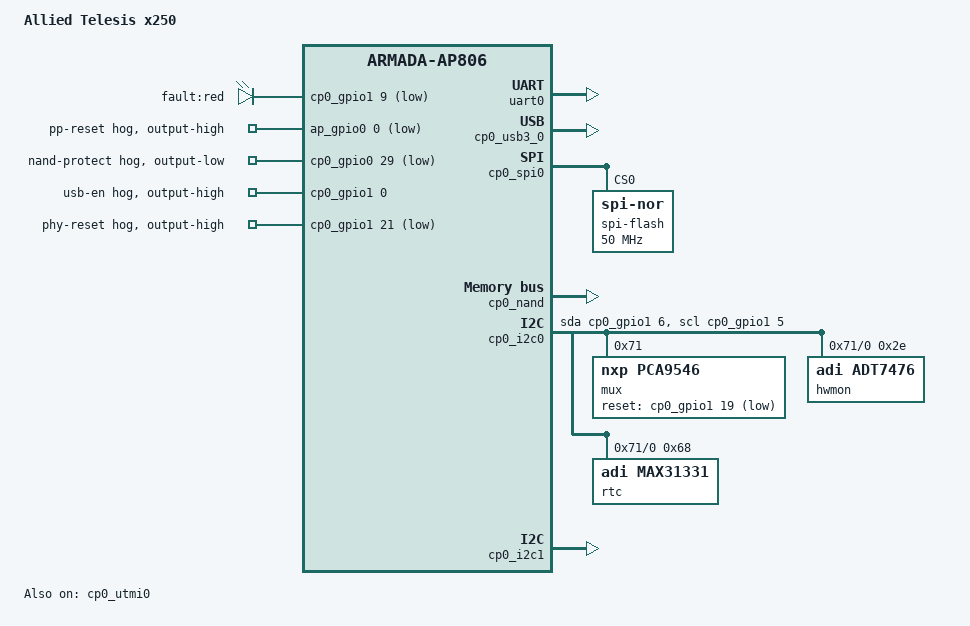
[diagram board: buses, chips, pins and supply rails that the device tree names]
// SPDX-License-Identifier: GPL-2.0+
/*
 * Copyright (C) 2024 Allied Telesis Labs
 */

#include "cn9130.dtsi"

/ {
	model = "Allied Telesis x250";
	compatible = "alliedtelesis,x250",
		"marvell,cn9130",
		"marvell,armada-ap806-quad",
		"marvell,armada-ap806";

	aliases {
		serial0 = &uart0;
		i2c0 = &cp0_i2c0;
		i2c1 = &cp0_i2c1;
	};

	chosen {
		stdout-path = "serial0:115200n8";
	};

	gpio-leds {
		compatible = "gpio-leds";

		fault {
			label = "fault:red";
			gpios = <&cp0_gpio1 9 GPIO_ACTIVE_LOW>;
			default-state = "on";
		};
	};
};

/*
 * AP related configuration
 */
&ap_pinctl {
	/* AP_MPP Pins:
	 * GPIO & NC [0-6,9-10,12]
	 * UART0 [11,19]
	 * UART1 [7,8]
	 * Note: The x250-28XTm PT1 units has the console port wired
	 *       to the second uart pins (UART1). This was fixed in all
	 *       subsequent models.
	 *       Here we choose to configure the pin control for both
	 *       uarts to cater for either unit.
	 */
		/*   0 1 2 3 4 5 6 7 8 9 */
	pin-func = < 0 0 0 0 0 0 0 3 3 0
		     0 3 0 0 0 0 0 0 0 3 >;
};

&ap_gpio0 {
	pp-reset {
		gpio-hog;
		gpios = <0 GPIO_ACTIVE_LOW>;
		output-high;
		line-name = "pp-reset";
	};
};

/*
 * CP related configuration
 */
&cp0_pinctl {
	/* MPP Bus:
	 *	[0-1]	DEV
	 *	[2-8]	GPIO
	 *	[9]	DEV
	 *	[10-12]	GPIO
	 *	[13]	ND_RB
	 *	[14]	GPIO
	 *	[15-28]	DEV
	 *	[29-30]	GPIO
	 *	[31]	DEV
	 *	[32-34]	GPIO
	 *	[35-36]	I2C1
	 *	[37-38]	I2C0
	 *	[39-55]	GPIO
	 *	[56-60]	SPI
	 *	[61-62]	GPIO
	 */
		/*   0   1   2   3   4   5   6   7   8   9 */
	pin-func = < 1   1   0   0   0   0   0   0   0   1
		     0   0   0   2   0   1   1   1   1   1
		     1   1   1   1   1   1   1   1   1   0
		     0   1   0   0   0   2   2   2   2   0
		     0   0   0   0   0   0   0   0   0   0
		     0   0   0   0   0   0   6   6   6   6
		     6   0   0>;

	cp0_i2c0_pins: cp0-i2c-pins-0 {
		marvell,pins = <37 38>;
		marvell,function = <2>;
	};

	cp0_i2c0_gpio_pins: cp0-i2c-gpio-pins-0 {
		marvell,pins = <37 38>;
		marvell,function = <0>;
	};

	cp0_i2c1_pins: cp0-i2c-pins-1 {
		marvell,pins = <35 36>;
		marvell,function = <2>;
	};

	cp0_nand_pins: cp0-nand-pins {
		marvell,pins = <0 1 9 15 16 17 18 19 20 21 22 23 24 25 26 27 28 31>;
		marvell,function = <1>;
	};

	cp0_nand_rb: cp0-nand-rb {
		marvell,pins = <13>;
		marvell,function = <2>;
	};

	cp0_spi0_pins: cp0-spi-pins-0 {
		marvell,pins = <56 57 58 59 60>;
		marvell,function = <6>;
	};
};

&cp0_comphy {
	phy0 {
		phy-type = <COMPHY_TYPE_PEX0>;
	};

	phy1 {
		phy-type = <COMPHY_TYPE_IGNORE>;
	};

	phy2 {
		phy-type = <COMPHY_TYPE_IGNORE>;
	};

	phy3 {
		phy-type = <COMPHY_TYPE_IGNORE>;
	};

	phy4 {
		phy-type = <COMPHY_TYPE_IGNORE>;
	};

	phy5 {
		phy-type = <COMPHY_TYPE_IGNORE>;
	};
};

&cp0_pcie0 {
	num-lanes = <1>;
		/* non-prefetchable memory */
	ranges =<0x82000000 0 0xc0000000 0 0xc0000000 0 0x2000000>;
	status = "disabled";
};

&uart0 {
	status = "okay";
};

&uart1 {
	clock-frequency = <200000000>;
};

&cp0_utmi0 {
	status = "okay";
};

&cp0_usb3_0 {
	status = "okay";
};

&cp0_spi0 {
	status = "okay";
	pinctrl-names = "default";
	pinctrl-0 = <&cp0_spi0_pins>;

	spi-flash@0 {
		#address-cells = <1>;
		#size-cells = <1>;
		compatible = "jedec,spi-nor";
		reg = <0>; /* Chip select 0 */
		spi-max-frequency = <50000000>;
		m25p,fast-read;
	};
};

&cp0_nand {
	status = "okay";
	pinctrl-names = "default";
	pinctrl-0 = <&cp0_nand_pins &cp0_nand_rb>;
	nand-ecc-strength = <4>;
	nand-ecc-step-size = <512>;
	nand-timing-mode = <4>;

	partitions {
		compatible = "fixed-partitions";
		#address-cells = <1>;
		#size-cells = <1>;

		partition@user {
			reg = <0x00000000 0x10000000>;
			label = "user";
		};
	};
};

&cp0_gpio0
{
	nand-protect {
		gpio-hog;
		gpios = <29 GPIO_ACTIVE_LOW>;
		output-low;
		line-name = "nand-protect";
	};
};

&cp0_gpio1
{
	usb-en {
		gpio-hog;
		gpios = <0 GPIO_ACTIVE_HIGH>;
		output-high;
		line-name = "usb-en";
	};

	phy-reset {
		gpio-hog;
		gpios = <21 GPIO_ACTIVE_LOW>;
		output-high;
		line-name = "phy-reset";
	};
};

&cp0_i2c0 {
	status = "okay";
	pinctrl-names = "default", "gpio";
	pinctrl-0 = <&cp0_i2c0_pins>;
	pinctrl-1 = <&cp0_i2c0_gpio_pins>;
	scl-gpios = <&cp0_gpio1 5 (GPIO_ACTIVE_HIGH | GPIO_OPEN_DRAIN)>;
	sda-gpios = <&cp0_gpio1 6 (GPIO_ACTIVE_HIGH | GPIO_OPEN_DRAIN)>;

	mux@71 {
		#address-cells = <1>;
		#size-cells = <0>;
		compatible = "nxp,pca9546";
		reg = <0x71>;
		i2c-mux-idle-disconnect;
		reset-gpios = <&cp0_gpio1 19 GPIO_ACTIVE_LOW>;

		i2c@0 {
			#address-cells = <1>;
			#size-cells = <0>;
			reg = <0>;

			hwmon@2e {
				compatible = "adi,adt7476";
				reg = <0x2e>;
			};

			rtc@68 {
				compatible = "adi,max31331";
				reg = <0x68>;
			};
		};
	};
};

&cp0_i2c1 {
	status = "okay";
	pinctrl-names = "default";
	pinctrl-0 = <&cp0_i2c1_pins>;
};
